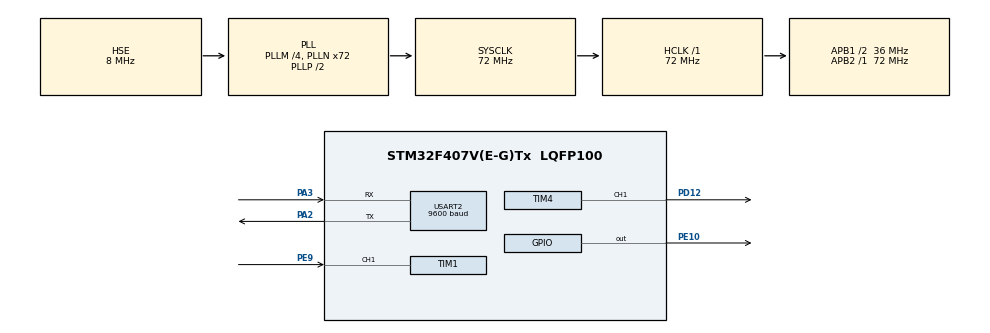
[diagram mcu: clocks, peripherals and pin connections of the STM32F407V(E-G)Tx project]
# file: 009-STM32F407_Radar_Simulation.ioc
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Mcu.Family=STM32F4
Mcu.Name=STM32F407V(E-G)Tx
Mcu.Package=LQFP100
NVIC.PriorityGroup=NVIC_PRIORITYGROUP_4
NVIC.TIM1_CC_IRQn=true\:0\:0\:false\:false\:true\:true\:true
NVIC.TIM4_IRQn=true\:0\:0\:false\:false\:true\:true\:true
PA13.Mode=Serial_Wire
PA13.Signal=SYS_JTMS-SWDIO
PA14.Mode=Serial_Wire
PA14.Signal=SYS_JTCK-SWCLK
PA2.Mode=Asynchronous
PA2.Signal=USART2_TX
PA3.Mode=Asynchronous
PA3.Signal=USART2_RX
PD12.Signal=S_TIM4_CH1
PE10.Signal=GPIO_Output
PE9.Signal=S_TIM1_CH1
PH0-OSC_IN.Mode=HSE-External-Oscillator
PH0-OSC_IN.Signal=RCC_OSC_IN
PH1-OSC_OUT.Mode=HSE-External-Oscillator
PH1-OSC_OUT.Signal=RCC_OSC_OUT
ProjectManager.HeapSize=0x200
ProjectManager.StackSize=0x400
ProjectManager.TargetToolchain=STM32CubeIDE
RCC.48MHZClocksFreq_Value=36000000
RCC.AHBFreq_Value=72000000
RCC.APB1CLKDivider=RCC_HCLK_DIV2
RCC.APB1Freq_Value=36000000
RCC.APB1TimFreq_Value=72000000
RCC.APB2Freq_Value=72000000
RCC.APB2TimFreq_Value=72000000
RCC.CortexFreq_Value=72000000
RCC.HCLKFreq_Value=72000000
RCC.HSE_VALUE=8000000
RCC.HSI_VALUE=16000000
RCC.LSE_VALUE=32768
RCC.PLLM=4
RCC.PLLN=72
RCC.PLLSourceVirtual=RCC_PLLSOURCE_HSE
RCC.SYSCLKFreq_VALUE=72000000
RCC.SYSCLKSource=RCC_SYSCLKSOURCE_PLLCLK
RCC.VCOOutputFreq_Value=144000000
SH.S_TIM1_CH1.0=TIM1_CH1,Input_Capture1_from_TI1
SH.S_TIM4_CH1.0=TIM4_CH1,PWM Generation1 CH1
TIM1.Channel-Input_Capture1_from_TI1=TIM_CHANNEL_1
TIM1.Period=0xffff-1
TIM1.Prescaler=72-1
TIM4.Channel-PWM\ Generation1\ CH1=TIM_CHANNEL_1
TIM4.Period=1800-1
TIM4.Prescaler=800-1
USART2.BaudRate=9600
USART2.VirtualMode=VM_ASYNC
VP_TIM4_VS_ClockSourceINT.Mode=Internal
board=custom

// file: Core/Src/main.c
/* USER CODE BEGIN Header */
/**
  ******************************************************************************
  * @file           : main.c
  * @brief          : Main program body
  ******************************************************************************
  * @attention
  *
  * <h2><center>&copy; Copyright (c) 2020 STMicroelectronics.
  * All rights reserved.</center></h2>
  *
  * This software component is licensed by ST under BSD 3-Clause license,
  * the "License"; You may not use this file except in compliance with the
  * License. You may obtain a copy of the License at:
  *                        opensource.org/licenses/BSD-3-Clause
  *
  ******************************************************************************
  */
/* USER CODE END Header */

#include "main.h"

/* USER CODE BEGIN Includes */
#include <string.h>
#include <stdio.h>
/* USER CODE END Includes */

/* USER CODE BEGIN PTD */
#define TRIG_PIN GPIO_PIN_10
#define TRIG_PORT GPIOE
/* USER CODE END PTD */

TIM_HandleTypeDef htim1;
TIM_HandleTypeDef htim4;

UART_HandleTypeDef huart2;

void SystemClock_Config(void);
static void MX_GPIO_Init(void);
static void MX_TIM1_Init(void);
static void MX_USART2_UART_Init(void);
static void MX_TIM4_Init(void);
void HCSR04_Read (void);
void MovingServo_RL(int);
void MovingServo_LR(int);
/* USER CODE BEGIN PFP */
char uartBuf[100];
int state = 0;
int degree=1;
uint32_t IC_Val1 = 0;
uint32_t IC_Val2 = 0;
uint32_t Difference = 0;
uint8_t Is_First_Captured = 0;  // is the first value captured ?
uint8_t Distance  = 0;

/* USER CODE END PFP */

/* USER CODE BEGIN 0 */
void delay(uint16_t time)	// Delay function for Ultrasonic
{
	__HAL_TIM_SET_COUNTER(&htim1, 0);
	while (__HAL_TIM_GET_COUNTER (&htim1)< time);
}

/* USER CODE END 0 */

int main(void)
{

  /* MCU Configuration--------------------------------------------------------*/

  /* Reset of all peripherals, Initializes the Flash interface and the Systick. */
  HAL_Init();

  /* Configure the system clock */
  SystemClock_Config();

  /* Initialize all configured peripherals */
  MX_GPIO_Init();
  MX_TIM1_Init();
  MX_USART2_UART_Init();
  MX_TIM4_Init();
  HAL_TIM_IC_Start_IT(&htim1, TIM_CHANNEL_1);
  HAL_TIM_PWM_Start(&htim4, TIM_CHANNEL_1);	//start the timer in PWM mode, servo
  /* Infinite loop */
  while (1)
  {

    /* USER CODE BEGIN 3 */
	  /*****************************************************************OUR MAIN CODE******************************************************************/
	  	  	if (degree == 1){state=0;}									 // state = 0 from 1 to 180
	  	  	if (degree == 180){state=1;}								// state = 1 from 180 to 0
	  	  	if (state == 0){degree=degree+1; MovingServo_RL(degree);}
	  	  	if (state == 1){degree=degree-1; MovingServo_LR(degree);}
	  	  	HCSR04_Read();
	 /*******************************************************Print to UART terminal for debugging*****************************************************/
	  	  	sprintf(uartBuf, "%d %d\r\n", degree, Distance);
	  	  	HAL_UART_Transmit(&huart2, (uint8_t *)uartBuf, strlen(uartBuf), 10);
	  	  	HAL_Delay(100);
  }
  /* USER CODE END 3 */
}
	/**************************************************************Ultrasonic function*********************************************************************/
void HAL_TIM_IC_CaptureCallback(TIM_HandleTypeDef *htim) // input captured
{
	if (htim->Channel == HAL_TIM_ACTIVE_CHANNEL_1)  // if the interrupt source is channel1
	{
		if (Is_First_Captured==0) // if the first value is not captured (check the first value is captured or not)
		{
			IC_Val1 = HAL_TIM_ReadCapturedValue(htim, TIM_CHANNEL_1); // read the first value
			Is_First_Captured = 1;  // set the first captured as true
			//change the polarity to falling edge
			__HAL_TIM_SET_CAPTUREPOLARITY(htim, TIM_CHANNEL_1, TIM_INPUTCHANNELPOLARITY_FALLING);
		}

		else if (Is_First_Captured==1)   // if the first is already captured
		{
			IC_Val2 = HAL_TIM_ReadCapturedValue(htim, TIM_CHANNEL_1);  // read second value
			__HAL_TIM_SET_COUNTER(htim, 0);  // reset the counter

			if (IC_Val2 > IC_Val1)
			{
				Difference = IC_Val2-IC_Val1;
			}

			else if (IC_Val1 > IC_Val2)
			{
				Difference = (0xffff - IC_Val1) + IC_Val2; //usec
			}

			Distance = Difference * .034/2;
			if (Distance >100) {Distance =100;}
			Is_First_Captured = 0; // set it back to false

			// set polarity to rising edge again
			__HAL_TIM_SET_CAPTUREPOLARITY(htim, TIM_CHANNEL_1, TIM_INPUTCHANNELPOLARITY_RISING);
			__HAL_TIM_DISABLE_IT(&htim1, TIM_IT_CC1);
		}
	}

}
void HCSR04_Read (void)
{
	HAL_GPIO_WritePin(TRIG_PORT, TRIG_PIN, GPIO_PIN_SET);  // pull the TRIG pin HIGH
	delay(10);  // wait for 10 us
	HAL_GPIO_WritePin(TRIG_PORT, TRIG_PIN, GPIO_PIN_RESET);  // pull the TRIG pin low

	__HAL_TIM_ENABLE_IT(&htim1, TIM_IT_CC1);
}
	/**************************************************************Servo function*********************************************************************/
void MovingServo_RL(int degree)
{
	 	 		for(int i= degree + 44; i<= degree + 45; i++) //from zero degree too 180 degree
	 	 			 	  	  {
	 	 			 	  		  TIM4->CCR1 = i;
	 	 			 	  		  HAL_Delay(10);
	 	 			 	  	  }
}
void MovingServo_LR(int degree)
{
	 	 		for(int i= degree + 45; i>= degree + 44; i--) //from 180 degree too zero degree
	 	 			 	  	  {
	 	 			 	  		  TIM4->CCR1 = i;
	 	 			 	  		  HAL_Delay(10);
	 	 			 	  	  }
}

void SystemClock_Config(void)
{
  RCC_OscInitTypeDef RCC_OscInitStruct = {0};
  RCC_ClkInitTypeDef RCC_ClkInitStruct = {0};

  /** Configure the main internal regulator output voltage
  */
  __HAL_RCC_PWR_CLK_ENABLE();
  __HAL_PWR_VOLTAGESCALING_CONFIG(PWR_REGULATOR_VOLTAGE_SCALE1);
  /** Initializes the CPU, AHB and APB busses clocks
  */
  RCC_OscInitStruct.OscillatorType = RCC_OSCILLATORTYPE_HSE;
  RCC_OscInitStruct.HSEState = RCC_HSE_ON;
  RCC_OscInitStruct.PLL.PLLState = RCC_PLL_ON;
  RCC_OscInitStruct.PLL.PLLSource = RCC_PLLSOURCE_HSE;
  RCC_OscInitStruct.PLL.PLLM = 4;
  RCC_OscInitStruct.PLL.PLLN = 72;
  RCC_OscInitStruct.PLL.PLLP = RCC_PLLP_DIV2;
  RCC_OscInitStruct.PLL.PLLQ = 4;
  if (HAL_RCC_OscConfig(&RCC_OscInitStruct) != HAL_OK)
  {
    Error_Handler();
  }
  /** Initializes the CPU, AHB and APB busses clocks
  */
  RCC_ClkInitStruct.ClockType = RCC_CLOCKTYPE_HCLK|RCC_CLOCKTYPE_SYSCLK
                              |RCC_CLOCKTYPE_PCLK1|RCC_CLOCKTYPE_PCLK2;
  RCC_ClkInitStruct.SYSCLKSource = RCC_SYSCLKSOURCE_PLLCLK;
  RCC_ClkInitStruct.AHBCLKDivider = RCC_SYSCLK_DIV1;
  RCC_ClkInitStruct.APB1CLKDivider = RCC_HCLK_DIV2;
  RCC_ClkInitStruct.APB2CLKDivider = RCC_HCLK_DIV1;

  if (HAL_RCC_ClockConfig(&RCC_ClkInitStruct, FLASH_LATENCY_2) != HAL_OK)
  {
    Error_Handler();
  }
}

static void MX_TIM1_Init(void)
{

  TIM_MasterConfigTypeDef sMasterConfig = {0};
  TIM_IC_InitTypeDef sConfigIC = {0};

  htim1.Instance = TIM1;
  htim1.Init.Prescaler = 72-1;
  htim1.Init.CounterMode = TIM_COUNTERMODE_UP;
  htim1.Init.Period = 0xffff-1;
  htim1.Init.ClockDivision = TIM_CLOCKDIVISION_DIV1;
  htim1.Init.RepetitionCounter = 0;
  htim1.Init.AutoReloadPreload = TIM_AUTORELOAD_PRELOAD_DISABLE;
  if (HAL_TIM_IC_Init(&htim1) != HAL_OK)
  {
    Error_Handler();
  }
  sMasterConfig.MasterOutputTrigger = TIM_TRGO_RESET;
  sMasterConfig.MasterSlaveMode = TIM_MASTERSLAVEMODE_DISABLE;
  if (HAL_TIMEx_MasterConfigSynchronization(&htim1, &sMasterConfig) != HAL_OK)
  {
    Error_Handler();
  }
  sConfigIC.ICPolarity = TIM_INPUTCHANNELPOLARITY_RISING;
  sConfigIC.ICSelection = TIM_ICSELECTION_DIRECTTI;
  sConfigIC.ICPrescaler = TIM_ICPSC_DIV1;
  sConfigIC.ICFilter = 0;
  if (HAL_TIM_IC_ConfigChannel(&htim1, &sConfigIC, TIM_CHANNEL_1) != HAL_OK)
  {
    Error_Handler();
  }

}

static void MX_TIM4_Init(void)
{

  TIM_ClockConfigTypeDef sClockSourceConfig = {0};
  TIM_MasterConfigTypeDef sMasterConfig = {0};
  TIM_OC_InitTypeDef sConfigOC = {0};

  htim4.Instance = TIM4;
  htim4.Init.Prescaler = 800-1;
  htim4.Init.CounterMode = TIM_COUNTERMODE_UP;
  htim4.Init.Period = 1800-1;
  htim4.Init.ClockDivision = TIM_CLOCKDIVISION_DIV1;
  htim4.Init.AutoReloadPreload = TIM_AUTORELOAD_PRELOAD_DISABLE;
  if (HAL_TIM_Base_Init(&htim4) != HAL_OK)
  {
    Error_Handler();
  }
  sClockSourceConfig.ClockSource = TIM_CLOCKSOURCE_INTERNAL;
  if (HAL_TIM_ConfigClockSource(&htim4, &sClockSourceConfig) != HAL_OK)
  {
    Error_Handler();
  }
  if (HAL_TIM_PWM_Init(&htim4) != HAL_OK)
  {
    Error_Handler();
  }
  sMasterConfig.MasterOutputTrigger = TIM_TRGO_RESET;
  sMasterConfig.MasterSlaveMode = TIM_MASTERSLAVEMODE_DISABLE;
  if (HAL_TIMEx_MasterConfigSynchronization(&htim4, &sMasterConfig) != HAL_OK)
  {
    Error_Handler();
  }
  sConfigOC.OCMode = TIM_OCMODE_PWM1;
  sConfigOC.Pulse = 0;
  sConfigOC.OCPolarity = TIM_OCPOLARITY_HIGH;
  sConfigOC.OCFastMode = TIM_OCFAST_DISABLE;
  if (HAL_TIM_PWM_ConfigChannel(&htim4, &sConfigOC, TIM_CHANNEL_1) != HAL_OK)
  {
    Error_Handler();
  }
  HAL_TIM_MspPostInit(&htim4);

}

static void MX_USART2_UART_Init(void)
{

  huart2.Instance = USART2;
  huart2.Init.BaudRate = 9600;
  huart2.Init.WordLength = UART_WORDLENGTH_8B;
  huart2.Init.StopBits = UART_STOPBITS_1;
  huart2.Init.Parity = UART_PARITY_NONE;
  huart2.Init.Mode = UART_MODE_TX_RX;
  huart2.Init.HwFlowCtl = UART_HWCONTROL_NONE;
  huart2.Init.OverSampling = UART_OVERSAMPLING_16;
  if (HAL_UART_Init(&huart2) != HAL_OK)
  {
    Error_Handler();
  }

}

static void MX_GPIO_Init(void)
{
  GPIO_InitTypeDef GPIO_InitStruct = {0};

  /* GPIO Ports Clock Enable */
  __HAL_RCC_GPIOH_CLK_ENABLE();
  __HAL_RCC_GPIOA_CLK_ENABLE();
  __HAL_RCC_GPIOE_CLK_ENABLE();
  __HAL_RCC_GPIOD_CLK_ENABLE();

  /*Configure GPIO pin Output Level */
  HAL_GPIO_WritePin(GPIOE, GPIO_PIN_10, GPIO_PIN_RESET);

  /*Configure GPIO pin : PE10 */
  GPIO_InitStruct.Pin = GPIO_PIN_10;
  GPIO_InitStruct.Mode = GPIO_MODE_OUTPUT_PP;
  GPIO_InitStruct.Pull = GPIO_NOPULL;
  GPIO_InitStruct.Speed = GPIO_SPEED_FREQ_LOW;
  HAL_GPIO_Init(GPIOE, &GPIO_InitStruct);

}

void Error_Handler(void)
{
}

/************************ (C) COPYRIGHT STMicroelectronics *****END OF FILE****/
